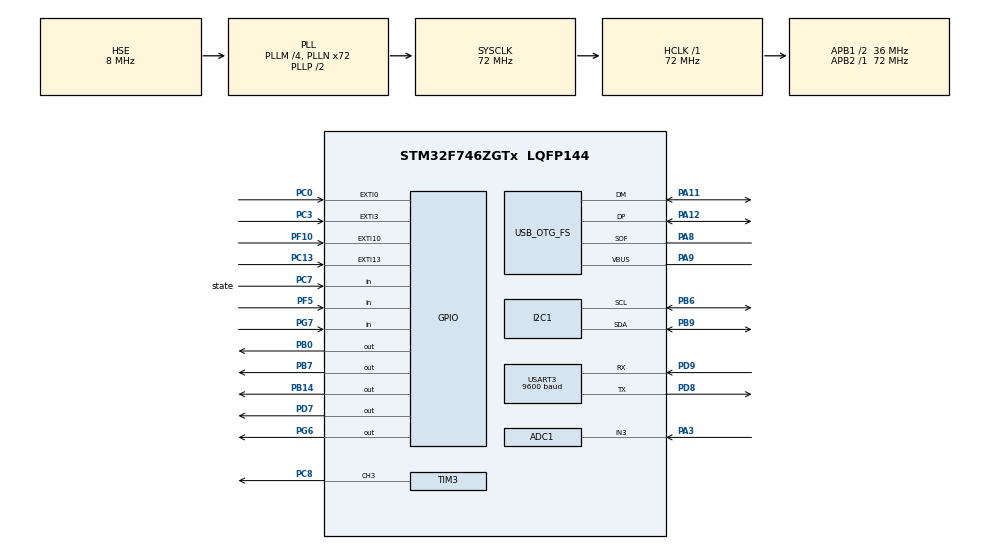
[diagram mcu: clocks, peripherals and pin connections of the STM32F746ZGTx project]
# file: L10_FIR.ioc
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ADC1.Channel-0\#ChannelRegularConversion=ADC_CHANNEL_3
ADC1.NbrOfConversionFlag=1
ADC1.master=1
I2C1.Timing=0x00808CD2
Mcu.Family=STM32F7
Mcu.Name=STM32F746ZGTx
Mcu.Package=LQFP144
NVIC.EXTI0_IRQn=true\:0\:0\:false\:false\:true\:true\:true
NVIC.EXTI15_10_IRQn=true\:0\:0\:false\:false\:true\:true\:true
NVIC.EXTI3_IRQn=true\:0\:0\:false\:false\:true\:true\:true
NVIC.I2C1_ER_IRQn=true\:0\:0\:false\:false\:true\:true\:true
NVIC.I2C1_EV_IRQn=true\:0\:0\:false\:false\:true\:true\:true
NVIC.PriorityGroup=NVIC_PRIORITYGROUP_4
NVIC.TIM3_IRQn=true\:0\:0\:false\:false\:true\:true\:true
NVIC.TIM4_IRQn=true\:0\:0\:false\:false\:true\:true\:true
NVIC.USART3_IRQn=true\:0\:0\:false\:false\:true\:true\:true
PA1.GPIO_Mode=GPIO_MODE_AF_PP
PA1.GPIO_PuPd=GPIO_NOPULL
PA1.GPIO_Speed=GPIO_SPEED_FREQ_VERY_HIGH
PA1.Signal=ETH_REF_CLK
PA10.GPIO_Mode=GPIO_MODE_AF_PP
PA10.GPIO_PuPd=GPIO_NOPULL
PA10.GPIO_Speed=GPIO_SPEED_FREQ_VERY_HIGH
PA10.Signal=USB_OTG_FS_ID
PA11.GPIO_Mode=GPIO_MODE_AF_PP
PA11.GPIO_PuPd=GPIO_NOPULL
PA11.GPIO_Speed=GPIO_SPEED_FREQ_VERY_HIGH
PA11.Mode=Device_Only
PA11.Signal=USB_OTG_FS_DM
PA12.GPIO_Mode=GPIO_MODE_AF_PP
PA12.GPIO_PuPd=GPIO_NOPULL
PA12.GPIO_Speed=GPIO_SPEED_FREQ_VERY_HIGH
PA12.Mode=Device_Only
PA12.Signal=USB_OTG_FS_DP
PA13.Mode=Serial_Wire
PA13.Signal=SYS_JTMS-SWDIO
PA14.Mode=Serial_Wire
PA14.Signal=SYS_JTCK-SWCLK
PA2.GPIO_Mode=GPIO_MODE_AF_PP
PA2.GPIO_PuPd=GPIO_NOPULL
PA2.GPIO_Speed=GPIO_SPEED_FREQ_VERY_HIGH
PA2.Signal=ETH_MDIO
PA3.Signal=ADCx_IN3
PA7.GPIO_Mode=GPIO_MODE_AF_PP
PA7.GPIO_PuPd=GPIO_NOPULL
PA7.GPIO_Speed=GPIO_SPEED_FREQ_VERY_HIGH
PA7.Signal=ETH_CRS_DV
PA8.GPIO_Mode=GPIO_MODE_AF_PP
PA8.GPIO_PuPd=GPIO_NOPULL
PA8.GPIO_Speed=GPIO_SPEED_FREQ_VERY_HIGH
PA8.Mode=Activate_SOF_FS
PA8.Signal=USB_OTG_FS_SOF
PA9.GPIO_Mode=GPIO_MODE_INPUT
PA9.GPIO_PuPd=GPIO_NOPULL
PA9.Mode=Activate_VBUS
PA9.Signal=USB_OTG_FS_VBUS
PB0.GPIO_ModeDefaultOutputPP=GPIO_MODE_OUTPUT_PP
PB0.GPIO_PuPd=GPIO_NOPULL
PB0.GPIO_Speed=GPIO_SPEED_FREQ_LOW
PB0.PinState=GPIO_PIN_RESET
PB0.Signal=GPIO_Output
PB13.GPIO_Mode=GPIO_MODE_AF_PP
PB13.GPIO_PuPd=GPIO_NOPULL
PB13.GPIO_Speed=GPIO_SPEED_FREQ_VERY_HIGH
PB13.Signal=ETH_TXD1
PB14.GPIO_ModeDefaultOutputPP=GPIO_MODE_OUTPUT_PP
PB14.GPIO_PuPd=GPIO_NOPULL
PB14.GPIO_Speed=GPIO_SPEED_FREQ_LOW
PB14.PinState=GPIO_PIN_RESET
PB14.Signal=GPIO_Output
PB3.Signal=SYS_JTDO-SWO
PB6.Mode=I2C
PB6.Signal=I2C1_SCL
PB7.GPIO_ModeDefaultOutputPP=GPIO_MODE_OUTPUT_PP
PB7.GPIO_PuPd=GPIO_NOPULL
PB7.GPIO_Speed=GPIO_SPEED_FREQ_LOW
PB7.PinState=GPIO_PIN_RESET
PB7.Signal=GPIO_Output
PB9.Mode=I2C
PB9.Signal=I2C1_SDA
PC0.GPIO_ModeDefaultEXTI=GPIO_MODE_IT_RISING
PC0.GPIO_PuPd=GPIO_NOPULL
PC0.Signal=GPXTI0
PC1.GPIO_Mode=GPIO_MODE_AF_PP
PC1.GPIO_PuPd=GPIO_NOPULL
PC1.GPIO_Speed=GPIO_SPEED_FREQ_VERY_HIGH
PC1.Signal=ETH_MDC
PC13.GPIO_ModeDefaultEXTI=GPIO_MODE_IT_RISING
PC13.GPIO_PuPd=GPIO_NOPULL
PC13.Signal=GPXTI13
PC14/OSC32_IN.Mode=LSE-External-Oscillator
PC14/OSC32_IN.Signal=RCC_OSC32_IN
PC15/OSC32_OUT.Mode=LSE-External-Oscillator
PC15/OSC32_OUT.Signal=RCC_OSC32_OUT
PC3.GPIO_ModeDefaultEXTI=GPIO_MODE_IT_RISING
PC3.GPIO_PuPd=GPIO_NOPULL
PC3.Signal=GPXTI3
PC4.GPIO_Mode=GPIO_MODE_AF_PP
PC4.GPIO_PuPd=GPIO_NOPULL
PC4.GPIO_Speed=GPIO_SPEED_FREQ_VERY_HIGH
PC4.Signal=ETH_RXD0
PC5.GPIO_Mode=GPIO_MODE_AF_PP
PC5.GPIO_PuPd=GPIO_NOPULL
PC5.GPIO_Speed=GPIO_SPEED_FREQ_VERY_HIGH
PC5.Signal=ETH_RXD1
PC7.GPIO_Label=state
PC7.Signal=GPIO_Input
PC8.Signal=S_TIM3_CH3
PD7.GPIO_ModeDefaultOutputPP=GPIO_MODE_OUTPUT_PP
PD7.GPIO_PuPd=GPIO_NOPULL
PD7.GPIO_Speed=GPIO_SPEED_FREQ_LOW
PD7.PinState=GPIO_PIN_RESET
PD7.Signal=GPIO_Output
PD8.GPIO_ModeDefaultPP=GPIO_MODE_AF_PP
PD8.GPIO_PuPd=GPIO_NOPULL
PD8.GPIO_Speed=GPIO_SPEED_FREQ_VERY_HIGH
PD8.Mode=Asynchronous
PD8.Signal=USART3_TX
PD9.GPIO_ModeDefaultPP=GPIO_MODE_AF_PP
PD9.GPIO_PuPd=GPIO_NOPULL
PD9.GPIO_Speed=GPIO_SPEED_FREQ_VERY_HIGH
PD9.Mode=Asynchronous
PD9.Signal=USART3_RX
PF10.GPIO_ModeDefaultEXTI=GPIO_MODE_IT_RISING
PF10.GPIO_PuPd=GPIO_NOPULL
PF10.Signal=GPXTI10
PF5.GPIO_Mode=GPIO_MODE_INPUT
PF5.GPIO_PuPd=GPIO_NOPULL
PF5.Signal=GPIO_Input
PG11.GPIO_Mode=GPIO_MODE_AF_PP
PG11.GPIO_PuPd=GPIO_NOPULL
PG11.GPIO_Speed=GPIO_SPEED_FREQ_VERY_HIGH
PG11.Signal=ETH_TX_EN
PG13.GPIO_Mode=GPIO_MODE_AF_PP
PG13.GPIO_PuPd=GPIO_NOPULL
PG13.GPIO_Speed=GPIO_SPEED_FREQ_VERY_HIGH
PG13.Signal=ETH_TXD0
PG6.GPIO_ModeDefaultOutputPP=GPIO_MODE_OUTPUT_PP
PG6.GPIO_PuPd=GPIO_NOPULL
PG6.GPIO_Speed=GPIO_SPEED_FREQ_LOW
PG6.PinState=GPIO_PIN_RESET
PG6.Signal=GPIO_Output
PG7.GPIO_Mode=GPIO_MODE_INPUT
PG7.GPIO_PuPd=GPIO_NOPULL
PG7.Signal=GPIO_Input
PH0/OSC_IN.Mode=HSE-External-Clock-Source
PH0/OSC_IN.Signal=RCC_OSC_IN
PH1/OSC_OUT.Mode=HSE-External-Clock-Source
PH1/OSC_OUT.Signal=RCC_OSC_OUT
ProjectManager.HeapSize=0x200
ProjectManager.StackSize=0x400
ProjectManager.TargetToolchain=STM32CubeIDE
RCC.48MHZClocksFreq_Value=24000000
RCC.AHBFreq_Value=72000000
RCC.APB1CLKDivider=RCC_HCLK_DIV2
RCC.APB1Freq_Value=36000000
RCC.APB1TimFreq_Value=72000000
RCC.APB2Freq_Value=72000000
RCC.APB2TimFreq_Value=72000000
RCC.CortexFreq_Value=72000000
RCC.HCLKFreq_Value=72000000
RCC.HSE_VALUE=8000000
RCC.HSI_VALUE=16000000
RCC.PLLM=4
RCC.PLLMUL=RCC_PLL_MUL9
RCC.PLLN=72
RCC.PLLQ=3
RCC.PRESCALERUSB=RCC_USBCLKSOURCE_PLL_DIV1_5
RCC.SYSCLKFreq_VALUE=72000000
RCC.SYSCLKSource=RCC_SYSCLKSOURCE_PLLCLK
RCC.SYSCLKSourceVirtual=RCC_SYSCLKSOURCE_PLLCLK
RCC.USBFreq_Value=48000000
RCC.VCOOutputFreq_Value=144000000
SH.ADCx_IN3.0=ADC1_IN3,IN3
SH.S_TIM3_CH3.0=TIM3_CH3,PWM Generation3 CH3
TIM3.Channel-PWM\ Generation3\ CH3=TIM_CHANNEL_3
TIM3.Period=999
TIM3.Prescaler=71
TIM4.Period=35999
TIM4.Prescaler=1999
USART3.BaudRate=9600
USART3.VirtualMode-Asynchronous=VM_ASYNC
USB_OTG_FS.VirtualMode=Device_Only
VP_TIM3_VS_ClockSourceINT.Mode=Internal
VP_TIM4_VS_ClockSourceINT.Mode=Internal
board=NUCLEO-F746ZG

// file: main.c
/* USER CODE BEGIN Header */
/**
  ******************************************************************************
  * @file           : main.c
  * @author			: Kotra & Piskorz Electronics
  * @date			: 20.02.2020
  * @brief          : STM32 program for Direct Motor Speed control
  ******************************************************************************
  * @attention
  *
  * <h2><center>&copy; Copyright (c) 2019 STMicroelectronics.
  * All rights reserved.</center></h2>
  *
  * This software component is licensed by ST under BSD 3-Clause license,
  * the "License"; You may not use this file except in compliance with the
  * License. You may obtain a copy of the License at:
  *                        opensource.org/licenses/BSD-3-Clause
  *
  ******************************************************************************
  */
/* USER CODE END Header */

#include "main.h"
#include "adc.h"
#include "i2c.h"
#include "tim.h"
#include "usart.h"
#include "usb_otg.h"
#include "gpio.h"

/* USER CODE BEGIN Includes */
#include "arm_math.h"
#include "math_helper.h"
#include "i2c-lcd.h"
#include <math.h>
/* USER CODE END Includes */

/* USER CODE BEGIN PV */

float value_f;/**<Wartosc pobierana przez ADC>*/
uint8_t Received[3];/**<Tablica przechowujaca wiadomosc z UARTA>*/
int pwm_duty;/**<Wartosc wypelnienia sterujaca predkosc silnika>*/
int32_t current_speed;/**<Zmienna przechowujaca akutalna predkosc>*/
int32_t wanted_speed;/**<Zmienna przechowujaca zadana predkosc>*/
int32_t pid_error;/**<Zmienna obliczanego uchybu>*/
_Bool flaga_usb;//**<zmienna detkcji polaczenia z usb>*/

//*filtr*//
uint32_t adcValue[1];/**<Zmienna przechowujaca wartosc zczytana z ADC>*/
uint32_t adcValue1[1];/**<Zmienna przechowujaca wartosc po odfiltrowaniu>*/
float32_t signal_in = 0;/**<Zmienna przechowujaca wartosc wejsciowa do FIR>*/
float32_t signal_out = 0;/**<Zmienna przechowujaca wartosc wyjsciowa z FIR>*/
//***********************//
#define TEST_LENGTH_SAMPLES  1
#define BLOCK_SIZE            1
#define NUM_TAPS              29
#define PID_PARAM_KP	120
#define PID_PARAM_KI	49
#define PID_PARAM_KD	0.7

arm_fir_instance_f32 S;/**<Obiekt przechowujacy FIR>*/
static float32_t firStateF32[BLOCK_SIZE + NUM_TAPS - 1];
static float32_t firCoeffs[NUM_TAPS] = {-0.0018225230f, -0.0015879294f, +0.0000000000f, +0.0036977508f, +0.0080754303f,
    +0.0085302217f, -0.0000000000f, -0.0173976984f, -0.0341458607f, -0.0333591565f,
    +0.0000000000f, +0.0676308395f, +0.1522061835f, +0.2229246956f, +0.2504960933f,
    +0.2229246956f, +0.1522061835f, +0.0676308395f, +0.0000000000f, -0.0333591565f,
    -0.0341458607f, -0.0173976984f, -0.0000000000f, +0.0085302217f, +0.0080754303f,
    +0.0036977508f, +0.0000000000f, -0.0015879294f, -0.0018225230f};

uint32_t blockSize = BLOCK_SIZE;
uint32_t numBlocks = TEST_LENGTH_SAMPLES/BLOCK_SIZE;

/* USER CODE END PV */

void SystemClock_Config(void);

int main(void)
{
  /* USER CODE BEGIN 1 */
	arm_pid_instance_f32 PID;/**<Zmienna przechowujaca obiekt PID>*/
	PID.Kp = PID_PARAM_KP;/**<Zmienna przechowujaca wartosc KP>*/
	PID.Ki = PID_PARAM_KI;/**<Zmienna przechowujaca wartosc KI>*/
	PID.Kd = PID_PARAM_KD;/**<Zmienna przechowujaca wartosc KD>*/
  /* USER CODE END 1 */

  /* MCU Configuration--------------------------------------------------------*/

  /* Reset of all peripherals, Initializes the Flash interface and the Systick. */
  HAL_Init();

  /* Configure the system clock */
  SystemClock_Config();

  /* Initialize all configured peripherals */
  MX_GPIO_Init();
  MX_USART3_UART_Init();
  MX_USB_OTG_FS_PCD_Init();
  MX_ADC1_Init();
  MX_I2C1_Init();
  MX_TIM3_Init();
  MX_TIM4_Init();
  /* USER CODE BEGIN 2 */
  /**
   * inicjalizowanie obiektu PID
   */
  	arm_pid_init_f32(&PID, 1);
  /**
    * inicjalizowanie obiektu LCD
    */
  	lcd_init ();
  	/**
  	  * inicjalizowanie podstawowych funkcji mikroporcesora
  	  */
	HAL_TIM_Base_Start_IT(&htim4);
	HAL_ADC_Start(&hadc1);
	HAL_TIM_PWM_Start(&htim3, TIM_CHANNEL_3);
	HAL_UART_Receive_IT(&huart3,Received,3);
	/**
	  * inicjalizowanie obiektu FIR
	  */
	arm_fir_init_f32(&S, NUM_TAPS, (float32_t *)&firCoeffs[0], (float32_t *)&firStateF32[0], blockSize);

  /* USER CODE END 2 */

  /* Infinite loop */
  /* USER CODE BEGIN WHILE */
	 /**
	   *
	   * @brief Funkcja glowna programu.Odpowiada za odbieranie warotsci z ADC, uzycie filtra FIR oraz regulatora PID oraz zadaniu wypelniena PWM.
	   *
	   * */
  while (1)
  {

	  if (HAL_ADC_PollForConversion(&hadc1, 100) == HAL_OK) {

	  	 value_f = HAL_ADC_GetValue(&hadc1);
	  	 arm_fir_f32(&S, &value_f, &signal_out, blockSize);
	  	 current_speed =  (int32_t)(signal_out/2.4);
	  	 HAL_ADC_Start(&hadc1);
	  	  }
	   pid_error = wanted_speed-current_speed;
	   pwm_duty = (int32_t)arm_pid_f32(&PID, pid_error);

	  	 if(pwm_duty >= 1000)
	  	  {
	  		  pwm_duty /= 10000;
	  	  }
	  	  else if(pwm_duty <= 300)
	  	  	  {
	  		  	  pwm_duty = 300;
	  	  	  }
	  	__HAL_TIM_SET_COMPARE(&htim3, TIM_CHANNEL_3, pwm_duty);

    /* USER CODE END WHILE */

    /* USER CODE BEGIN 3 */
	HAL_Delay(1); // Main loop delay
  }
  /* USER CODE END 3 */
}

void SystemClock_Config(void)
{
  RCC_OscInitTypeDef RCC_OscInitStruct = {0};
  RCC_ClkInitTypeDef RCC_ClkInitStruct = {0};
  RCC_PeriphCLKInitTypeDef PeriphClkInitStruct = {0};

  /** Configure LSE Drive Capability
  */
  HAL_PWR_EnableBkUpAccess();
  /** Configure the main internal regulator output voltage
  */
  __HAL_RCC_PWR_CLK_ENABLE();
  __HAL_PWR_VOLTAGESCALING_CONFIG(PWR_REGULATOR_VOLTAGE_SCALE3);
  /** Initializes the CPU, AHB and APB busses clocks
  */
  RCC_OscInitStruct.OscillatorType = RCC_OSCILLATORTYPE_HSE;
  RCC_OscInitStruct.HSEState = RCC_HSE_BYPASS;
  RCC_OscInitStruct.PLL.PLLState = RCC_PLL_ON;
  RCC_OscInitStruct.PLL.PLLSource = RCC_PLLSOURCE_HSE;
  RCC_OscInitStruct.PLL.PLLM = 4;
  RCC_OscInitStruct.PLL.PLLN = 72;
  RCC_OscInitStruct.PLL.PLLP = RCC_PLLP_DIV2;
  RCC_OscInitStruct.PLL.PLLQ = 3;
  if (HAL_RCC_OscConfig(&RCC_OscInitStruct) != HAL_OK)
  {
    Error_Handler();
  }
  /** Initializes the CPU, AHB and APB busses clocks
  */
  RCC_ClkInitStruct.ClockType = RCC_CLOCKTYPE_HCLK|RCC_CLOCKTYPE_SYSCLK
                              |RCC_CLOCKTYPE_PCLK1|RCC_CLOCKTYPE_PCLK2;
  RCC_ClkInitStruct.SYSCLKSource = RCC_SYSCLKSOURCE_PLLCLK;
  RCC_ClkInitStruct.AHBCLKDivider = RCC_SYSCLK_DIV1;
  RCC_ClkInitStruct.APB1CLKDivider = RCC_HCLK_DIV2;
  RCC_ClkInitStruct.APB2CLKDivider = RCC_HCLK_DIV1;

  if (HAL_RCC_ClockConfig(&RCC_ClkInitStruct, FLASH_LATENCY_2) != HAL_OK)
  {
    Error_Handler();
  }
  PeriphClkInitStruct.PeriphClockSelection = RCC_PERIPHCLK_USART3|RCC_PERIPHCLK_I2C1
                              |RCC_PERIPHCLK_CLK48;
  PeriphClkInitStruct.Usart3ClockSelection = RCC_USART3CLKSOURCE_PCLK1;
  PeriphClkInitStruct.I2c1ClockSelection = RCC_I2C1CLKSOURCE_PCLK1;
  PeriphClkInitStruct.Clk48ClockSelection = RCC_CLK48SOURCE_PLL;
  if (HAL_RCCEx_PeriphCLKConfig(&PeriphClkInitStruct) != HAL_OK)
  {
    Error_Handler();
  }
}

/* USER CODE BEGIN 4 */
/**
 * @brief	Odpowiada za utworzenie przerwania przy przesylaniu danych przez UART
 */
void HAL_UART_RxCpltCallback(UART_HandleTypeDef *huart)
{
			if((Received[0]=='0'|| Received[0]=='1') && (Received[1]>='0' &&  Received[1]<='9') && (Received[2]>='0' &&Received[2]<='9') && sizeof(Received)==3)
			{
				wanted_speed = (int32_t)(atoi(Received)*7 + 300);
				HAL_UART_Receive_IT(&huart3,&Received,3);
			  	HAL_UART_Transmit(&huart3, &Received  , 3, 10000);

			}
			else{
				Received[0]='0';
				Received[1]='0';
				Received[2]='0';
				HAL_UART_Receive_IT(&huart3,&Received,3);
				HAL_UART_Transmit(&huart3, &Received , 3, 10000);

			}
}
/**
 * @brief	Przerwanie timera odpowiadajacego za wyswietlenie warotsci na wyswietlaczu LCD
 */
void HAL_TIM_PeriodElapsedCallback (TIM_HandleTypeDef * htim)
{
	flaga_usb=HAL_GPIO_ReadPin(state_GPIO_Port, state_Pin);
	char speed[4];/**<Tablica przechowujaca wartosc obecnej predkosci>*/
	char speed2[4];/**<Tablica przchowujaca wartosc predkosci zadanej>*/
	sprintf(speed,"%i",current_speed);
	sprintf(speed2,"%i",wanted_speed);

	if(htim->Instance == TIM4)
	{
		if(flaga_usb==1)
		{
		lcd_clear();
		lcd_put_cur(0, 0);
		lcd_send_string("current:");
		lcd_send_string(speed);
		lcd_put_cur(1, 0);

		lcd_send_string("wannted:");
		lcd_send_string(speed2);
		lcd_put_cur(0, 0);
		}
		else
		{
			lcd_clear();
			lcd_put_cur(0, 0);
			lcd_send_string("USB disconnect");

		}

	}
}

/* USER CODE END 4 */

void Error_Handler(void)
{
  /* USER CODE BEGIN Error_Handler_Debug */
  /* User can add his own implementation to report the HAL error return state */

  //HAL_GPIO_WritePin(LD1_GPIO_Port, LD1_Pin, GPIO_PIN_RESET);
  //HAL_GPIO_WritePin(LD2_GPIO_Port, LD2_Pin, GPIO_PIN_RESET);
  //HAL_GPIO_WritePin(LD3_GPIO_Port, LD3_Pin, GPIO_PIN_RESET);
  while(1)
  {
	  //HAL_GPIO_TogglePin(LD3_GPIO_Port, LD3_Pin);
	  //HAL_Delay(100);
  }
  /* USER CODE END Error_Handler_Debug */
}

/************************ (C) COPYRIGHT STMicroelectronics *****END OF FILE****/
